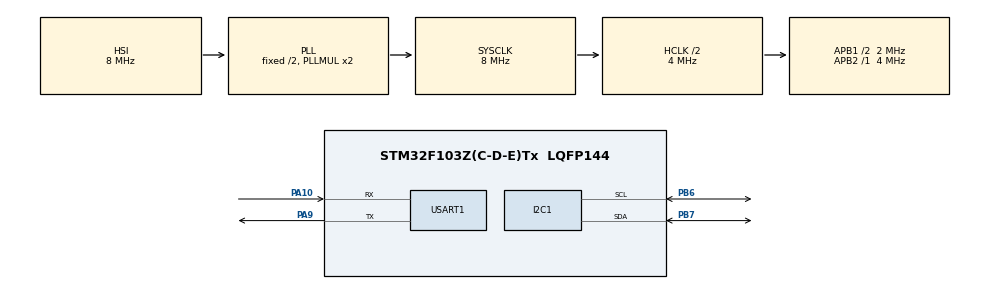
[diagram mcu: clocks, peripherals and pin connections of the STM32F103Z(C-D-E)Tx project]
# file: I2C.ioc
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Mcu.Family=STM32F1
Mcu.Name=STM32F103Z(C-D-E)Tx
Mcu.Package=LQFP144
NVIC.PriorityGroup=NVIC_PRIORITYGROUP_4
OSC_IN.Mode=HSE-External-Oscillator
OSC_IN.Signal=RCC_OSC_IN
OSC_OUT.Mode=HSE-External-Oscillator
OSC_OUT.Signal=RCC_OSC_OUT
PA10.Mode=Asynchronous
PA10.Signal=USART1_RX
PA9.Mode=Asynchronous
PA9.Signal=USART1_TX
PB6.Mode=I2C
PB6.Signal=I2C1_SCL
PB7.Mode=I2C
PB7.Signal=I2C1_SDA
ProjectManager.HeapSize=0x200
ProjectManager.StackSize=0x400
ProjectManager.TargetToolchain=MDK-ARM V5
RCC.AHBCLKDivider=RCC_SYSCLK_DIV2
RCC.AHBFreq_Value=4000000
RCC.APB1CLKDivider=RCC_HCLK_DIV2
RCC.APB1Freq_Value=2000000
RCC.APB1TimFreq_Value=4000000
RCC.APB2Freq_Value=4000000
RCC.APB2TimFreq_Value=4000000
RCC.HCLKFreq_Value=4000000
RCC.SYSCLKFreq_VALUE=8000000
RCC.SYSCLKSource=RCC_SYSCLKSOURCE_PLLCLK
RCC.USBFreq_Value=8000000
VP_SYS_VS_ND.Mode=No_Debug
board=I2C

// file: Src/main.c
/**
  ******************************************************************************
  * File Name          : main.c
  * Description        : Main program body
  ******************************************************************************
  *
  * COPYRIGHT(c) 2016 STMicroelectronics
  *
  * Redistribution and use in source and binary forms, with or without modification,
  * are permitted provided that the following conditions are met:
  *   1. Redistributions of source code must retain the above copyright notice,
  *      this list of conditions and the following disclaimer.
  *   2. Redistributions in binary form must reproduce the above copyright notice,
  *      this list of conditions and the following disclaimer in the documentation
  *      and/or other materials provided with the distribution.
  *   3. Neither the name of STMicroelectronics nor the names of its contributors
  *      may be used to endorse or promote products derived from this software
  *      without specific prior written permission.
  *
  * THIS SOFTWARE IS PROVIDED BY THE COPYRIGHT HOLDERS AND CONTRIBUTORS "AS IS"
  * AND ANY EXPRESS OR IMPLIED WARRANTIES, INCLUDING, BUT NOT LIMITED TO, THE
  * IMPLIED WARRANTIES OF MERCHANTABILITY AND FITNESS FOR A PARTICULAR PURPOSE ARE
  * DISCLAIMED. IN NO EVENT SHALL THE COPYRIGHT HOLDER OR CONTRIBUTORS BE LIABLE
  * FOR ANY DIRECT, INDIRECT, INCIDENTAL, SPECIAL, EXEMPLARY, OR CONSEQUENTIAL
  * DAMAGES (INCLUDING, BUT NOT LIMITED TO, PROCUREMENT OF SUBSTITUTE GOODS OR
  * SERVICES; LOSS OF USE, DATA, OR PROFITS; OR BUSINESS INTERRUPTION) HOWEVER
  * CAUSED AND ON ANY THEORY OF LIABILITY, WHETHER IN CONTRACT, STRICT LIABILITY,
  * OR TORT (INCLUDING NEGLIGENCE OR OTHERWISE) ARISING IN ANY WAY OUT OF THE USE
  * OF THIS SOFTWARE, EVEN IF ADVISED OF THE POSSIBILITY OF SUCH DAMAGE.
  *
  ******************************************************************************
  */
#include "main.h"
#include "stm32f1xx_hal.h"
#include "i2c.h"
#include "usart.h"
#include "gpio.h"

/* USER CODE BEGIN Includes */
#include <string.h>
/* USER CODE END Includes */

/* USER CODE BEGIN PV */
/* Private variables ---------------------------------------------------------*/
HAL_StatusTypeDef Status;

#define ADDR_AT24C04_WRITE_FIRST_16_PAGES 0xA0
#define ADDR_AT24C04_WRITE_LAST_16_PAGES 0xA2
#define ADDR_AT24C04_READ 0xA1
#define AT24C04_PAGE_SIZE 16
#define AT24C04_TIMEOUT 0xFF
#define BUFFER_SIZE 512

uint8_t WriteBuffer[BUFFER_SIZE] = "COPYRIGHT(c) Waveshare\r\n"
                                   "Replace this string buffer with your own one (512 bytes or less). "
                                   "The string will be saved into the EEPROM.\r\n\r\n"
                                   "THIS SOFTWARE IS PROVIDED BY THE COPYRIGHT HOLDERS AND CONTRIBUTORS \"AS IS\" "
                                   "AND ANY EXPRESS OR IMPLIED WARRANTIES, INCLUDING, BUT NOT LIMITED TO, THE "
                                   "IMPLIED WARRANTIES OF MERCHANTABILITY AND FITNESS FOR A PARTICULAR PURPOSE ARE "
                                   "DISCLAIMED.";

uint8_t ReadBuffer[BUFFER_SIZE];
/* USER CODE END PV */

void SystemClock_Config(void);
void Error_Handler(void);

/* USER CODE BEGIN PFP */
/* Private function prototypes -----------------------------------------------*/
HAL_StatusTypeDef AT24C04_Write(I2C_HandleTypeDef *hi2c, uint8_t *pData);
HAL_StatusTypeDef AT24C04_Read(I2C_HandleTypeDef *hi2c, uint8_t *pData);
/* USER CODE END PFP */

int main(void)
{

  /* MCU Configuration----------------------------------------------------------*/

  /* Reset of all peripherals, Initializes the Flash interface and the Systick. */
  HAL_Init();

  /* Configure the system clock */
  SystemClock_Config();

  /* Initialize all configured peripherals */
  MX_GPIO_Init();
  MX_USART1_UART_Init();
  MX_I2C1_Init();

  /* USER CODE BEGIN 2 */
  printf("\r\n*************** I2C Example ***************\r\n");

  /* Write data to EEPROM */
  if((Status = AT24C04_Write(&hi2c1, WriteBuffer)) != HAL_OK)
  {
    printf("\r\n EEPROM 24C04 write false. Error code: %d\r\n", Status);
  }

  /* Read data from EEPROM */
  if((Status = AT24C04_Read(&hi2c1, ReadBuffer)) == HAL_OK)
  {
    printf("\r\nReadBuffer = \r\n");
    printf("%s", ReadBuffer);
  }
  else
  {
    printf("\r\n EEPROM 24C04 read false. Error code: %d\r\n", Status);
  }

  /* USER CODE END 2 */

  /* Infinite loop */
  while (1)
  {

  }

}

/** System Clock Configuration
*/
void SystemClock_Config(void)
{

  RCC_OscInitTypeDef RCC_OscInitStruct;
  RCC_ClkInitTypeDef RCC_ClkInitStruct;

    /**Initializes the CPU, AHB and APB busses clocks
    */
  RCC_OscInitStruct.OscillatorType = RCC_OSCILLATORTYPE_HSI;
  RCC_OscInitStruct.HSIState = RCC_HSI_ON;
  RCC_OscInitStruct.HSICalibrationValue = 16;
  RCC_OscInitStruct.PLL.PLLState = RCC_PLL_ON;
  RCC_OscInitStruct.PLL.PLLSource = RCC_PLLSOURCE_HSI_DIV2;
  RCC_OscInitStruct.PLL.PLLMUL = RCC_PLL_MUL2;
  if (HAL_RCC_OscConfig(&RCC_OscInitStruct) != HAL_OK)
  {
    Error_Handler();
  }

    /**Initializes the CPU, AHB and APB busses clocks
    */
  RCC_ClkInitStruct.ClockType = RCC_CLOCKTYPE_HCLK|RCC_CLOCKTYPE_SYSCLK
                              |RCC_CLOCKTYPE_PCLK1|RCC_CLOCKTYPE_PCLK2;
  RCC_ClkInitStruct.SYSCLKSource = RCC_SYSCLKSOURCE_PLLCLK;
  RCC_ClkInitStruct.AHBCLKDivider = RCC_SYSCLK_DIV2;
  RCC_ClkInitStruct.APB1CLKDivider = RCC_HCLK_DIV2;
  RCC_ClkInitStruct.APB2CLKDivider = RCC_HCLK_DIV1;

  if (HAL_RCC_ClockConfig(&RCC_ClkInitStruct, FLASH_LATENCY_0) != HAL_OK)
  {
    Error_Handler();
  }

    /**Configure the Systick interrupt time
    */
  HAL_SYSTICK_Config(HAL_RCC_GetHCLKFreq()/1000);

    /**Configure the Systick
    */
  HAL_SYSTICK_CLKSourceConfig(SYSTICK_CLKSOURCE_HCLK);

  /* SysTick_IRQn interrupt configuration */
  HAL_NVIC_SetPriority(SysTick_IRQn, 0, 0);
}

/* USER CODE BEGIN 4 */
/**
  * @brief  Write an amount of data in blocking mode to the AT24C04 EEPROM.
  * @param  hi2c Pointer to a I2C_HandleTypeDef structure that contains
  *         the configuration information for the specified I2C.
  * @param  pData Pointer to data buffer
  * @retval HAL status
  */
HAL_StatusTypeDef AT24C04_Write(I2C_HandleTypeDef *hi2c, uint8_t *pData)
{
  uint16_t MemAddress;
  uint16_t Page = 0;
  /** The AT24C04 internally organized with 32 pages of 16 bytes each, the 4K
    * requires an 9-bit data word address for random word addressing.
    * However, AT24C04 can only receive 8-bit data per period, so the 9-bit
    * data word address is actually compromised with the page address bit in
    * device address and the 8-bit memory address.
    * The device address 0xA0 means the first 16 pages while 0xA2 means the
    * last 32 pages.
    * The jumpers will also define the address, so the address 0xA0 or 0xA2
    * are not always right.
    */
  while(Page < 16)
  {
    MemAddress = Page << 4;
  /** A page write is initiated the same as a byte write, but the
    * microcontroller does not send a stop condition after the first data word
    * is clocked in.
    * In AT24C04, 1 page = 16 bytes.
    * When the word address, internally generated, reaches the page boundary,
    * the following byte is placed at the beginning of the same page.
    */
    Status = HAL_I2C_Mem_Write(&hi2c1, ADDR_AT24C04_WRITE_FIRST_16_PAGES, MemAddress, I2C_MEMADD_SIZE_8BIT, pData, AT24C04_PAGE_SIZE, AT24C04_TIMEOUT);
    if(Status == HAL_OK)
    {
      Page++;
      pData += AT24C04_PAGE_SIZE;
      HAL_Delay(5);
    }
    else
    {
      return Status;
    }
  }
  while(Page >= 16 && Page < 32)
  {
    MemAddress = (Page - 16) << 4;
    Status = HAL_I2C_Mem_Write(&hi2c1, ADDR_AT24C04_WRITE_LAST_16_PAGES, MemAddress, I2C_MEMADD_SIZE_8BIT, pData, AT24C04_PAGE_SIZE, AT24C04_TIMEOUT);
    if(Status == HAL_OK)
    {
      Page++;
      pData += AT24C04_PAGE_SIZE;
      HAL_Delay(5);
    }
    else
    {
      return Status;
    }
  }
  return Status;
}
/**
  * @brief  Read all of the data from the AT24C04 EEPROM.
  * @param  hi2c Pointer to a I2C_HandleTypeDef structure that contains
  *         the configuration information for the specified I2C.
  * @param  pData Pointer to data buffer
  * @retval HAL status
  */
HAL_StatusTypeDef AT24C04_Read(I2C_HandleTypeDef *hi2c, uint8_t *pData)
{
  uint16_t MemAddress = 0x00;
  Status = HAL_I2C_Mem_Read(&hi2c1, ADDR_AT24C04_READ, MemAddress, I2C_MEMADD_SIZE_8BIT, pData, BUFFER_SIZE, AT24C04_TIMEOUT);
  return Status;
}

/* USER CODE END 4 */

void Error_Handler(void)
{
  while(1)
  {
  }
}

/************************ (C) COPYRIGHT STMicroelectronics *****END OF FILE****/
